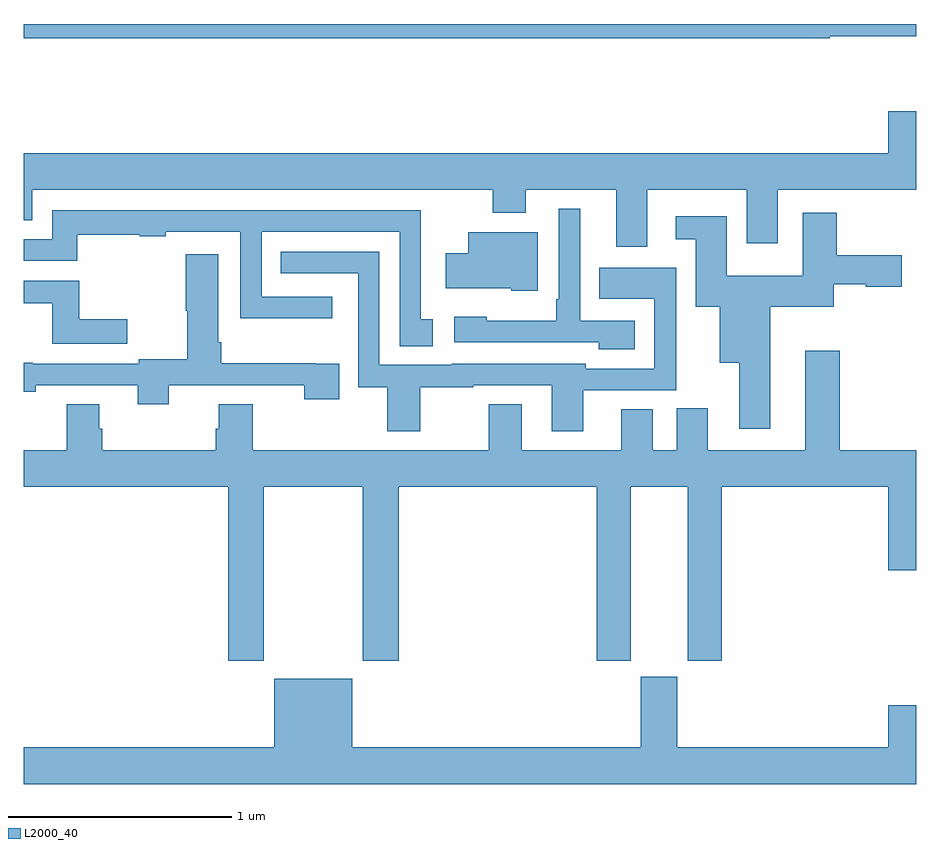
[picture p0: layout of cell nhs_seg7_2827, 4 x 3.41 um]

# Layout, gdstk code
import gdstk
lib = gdstk.Library(unit=1e-6, precision=1e-09)
def P(c, l, *ps):  # polygons
    for p in ps: c.add(gdstk.Polygon(p, *l))
L2000_40 = (2000, 40)

nhs_seg7_2827 = lib.new_cell('nhs_seg7_2827')
P(nhs_seg7_2827, L2000_40, [(296.614,1027.944),(297,1027.944),(297,1028),(293,1028),(293,1027.936),(296.614,1027.936)],
  [(295.795,1027.256),(296.24,1027.256),(296.24,1027.017),(296.38,1027.017),(296.38,1027.256),(297,1027.256),(297,1027.609),(296.876,1027.609),(296.876,1027.42),(293,1027.42),(293,1027.12),(293.038,1027.12),(293.038,1027.256),(295.102,1027.256),(295.102,1027.154),(295.249,1027.154),(295.249,1027.256),(295.655,1027.256),(295.655,1027.002),(295.795,1027.002)],
  [(295.738,1026.669),(295.494,1026.669),(295.494,1027.171),(295.398,1027.171),(295.398,1026.766),(295.386,1026.766),(295.386,1026.67),(295.074,1026.67),(295.074,1026.688),(294.93,1026.688),(294.93,1026.573),(295.577,1026.573),(295.577,1026.542),(295.738,1026.542)],
  [(294.832,1026.675),(294.78,1026.675),(294.78,1027.164),(293.127,1027.164),(293.127,1027.035),(293,1027.035),(293,1026.939),(293.239,1026.939),(293.239,1027.055),(293.52,1027.055),(293.52,1027.048),(293.636,1027.048),(293.636,1027.068),(293.97,1027.068),(293.97,1026.68),(294.382,1026.68),(294.382,1026.777),(294.066,1026.777),(294.066,1027.068),(294.684,1027.068),(294.684,1026.556),(294.832,1026.556)],
  [(296.347,1026.731),(296.632,1026.731),(296.632,1026.833),(296.775,1026.833),(296.775,1026.821),(296.935,1026.821),(296.935,1026.963),(296.645,1026.963),(296.645,1027.153),(296.492,1027.153),(296.492,1026.871),(296.152,1026.871),(296.152,1027.138),(295.923,1027.138),(295.923,1027.034),(296.012,1027.034),(296.012,1026.731),(296.12,1026.731),(296.12,1026.482),(296.207,1026.482),(296.207,1026.186),(296.347,1026.186)],
  [(295.303,1027.066),(294.992,1027.066),(294.992,1026.973),(294.891,1026.973),(294.891,1026.815),(295.185,1026.815),(295.185,1026.803),(295.303,1026.803)],
  [(295.507,1026.357),(295.925,1026.357),(295.925,1026.907),(295.579,1026.907),(295.579,1026.767),(295.827,1026.767),(295.827,1026.453),(295.518,1026.453),(295.518,1026.477),(294.918,1026.477),(294.918,1026.471),(294.594,1026.471),(294.594,1026.978),(294.151,1026.978),(294.151,1026.882),(294.498,1026.882),(294.498,1026.37),(294.629,1026.37),(294.629,1026.174),(294.777,1026.174),(294.777,1026.37),(295.014,1026.37),(295.014,1026.381),(295.367,1026.381),(295.367,1026.173),(295.507,1026.173)],
  [(293.65,1026.381),(294.257,1026.381),(294.257,1026.318),(294.413,1026.318),(294.413,1026.477),(294.305,1026.477),(294.305,1026.478),(293.885,1026.478),(293.885,1026.574),(293.872,1026.574),(293.872,1026.967),(293.725,1026.967),(293.725,1026.714),(293.732,1026.714),(293.732,1026.497),(293.514,1026.497),(293.514,1026.477),(293.04,1026.477),(293.04,1026.482),(293,1026.482),(293,1026.35),(293.052,1026.35),(293.052,1026.381),(293.51,1026.381),(293.51,1026.296),(293.65,1026.296)],
  [(293.464,1026.676),(293.248,1026.676),(293.248,1026.849),(293,1026.849),(293,1026.748),(293.127,1026.748),(293.127,1026.567),(293.464,1026.567)],
  [(294.075,1025.924),(294.52,1025.924),(294.52,1025.145),(294.68,1025.145),(294.68,1025.924),(295.568,1025.924),(295.568,1025.145),(295.72,1025.145),(295.72,1025.924),(295.976,1025.924),(295.976,1025.145),(296.129,1025.145),(296.129,1025.924),(296.876,1025.924),(296.876,1025.55),(297,1025.55),(297,1026.088),(296.657,1026.088),(296.657,1026.535),(296.504,1026.535),(296.504,1026.088),(296.065,1026.088),(296.065,1026.276),(295.926,1026.276),(295.926,1026.088),(295.819,1026.088),(295.819,1026.272),(295.679,1026.272),(295.679,1026.088),(295.231,1026.088),(295.231,1026.295),(295.084,1026.295),(295.084,1026.088),(294.026,1026.088),(294.026,1026.296),(293.873,1026.296),(293.873,1026.186),(293.861,1026.186),(293.861,1026.088),(293.351,1026.088),(293.351,1026.186),(293.338,1026.186),(293.338,1026.296),(293.191,1026.296),(293.191,1026.088),(293,1026.088),(293,1025.924),(293.915,1025.924),(293.915,1025.145),(294.075,1025.145)],
  [(297,1024.945),(296.876,1024.945),(296.876,1024.756),(295.93,1024.756),(295.93,1025.073),(295.766,1025.073),(295.766,1024.756),(294.472,1024.756),(294.472,1025.065),(294.122,1025.065),(294.122,1024.756),(293,1024.756),(293,1024.592),(297,1024.592)])

lib.write_gds('nhs_seg7_2827.gds')
